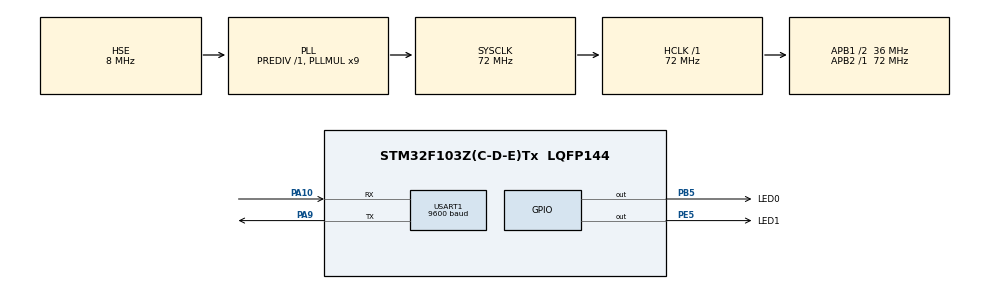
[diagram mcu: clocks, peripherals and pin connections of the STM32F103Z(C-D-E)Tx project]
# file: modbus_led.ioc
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Mcu.Family=STM32F1
Mcu.Name=STM32F103Z(C-D-E)Tx
Mcu.Package=LQFP144
NVIC.PriorityGroup=NVIC_PRIORITYGROUP_4
NVIC.TIM2_IRQn=true\:0\:0\:false\:false\:true\:true\:true\:true
NVIC.USART1_IRQn=true\:0\:0\:false\:false\:true\:true\:true\:true
OSC_IN.Mode=HSE-External-Oscillator
OSC_IN.Signal=RCC_OSC_IN
OSC_OUT.Mode=HSE-External-Oscillator
OSC_OUT.Signal=RCC_OSC_OUT
PA10.Mode=Asynchronous
PA10.Signal=USART1_RX
PA13.Mode=Serial_Wire
PA13.Signal=SYS_JTMS-SWDIO
PA14.Mode=Serial_Wire
PA14.Signal=SYS_JTCK-SWCLK
PA9.Mode=Asynchronous
PA9.Signal=USART1_TX
PB5.GPIO_Label=LED0
PB5.PinState=GPIO_PIN_SET
PB5.Signal=GPIO_Output
PC14-OSC32_IN.Mode=LSE-External-Oscillator
PC14-OSC32_IN.Signal=RCC_OSC32_IN
PC15-OSC32_OUT.Mode=LSE-External-Oscillator
PC15-OSC32_OUT.Signal=RCC_OSC32_OUT
PE5.GPIO_Label=LED1
PE5.PinState=GPIO_PIN_SET
PE5.Signal=GPIO_Output
ProjectManager.HeapSize=0x200
ProjectManager.StackSize=0x400
ProjectManager.TargetToolchain=MDK-ARM V5.32
RCC.AHBFreq_Value=72000000
RCC.APB1CLKDivider=RCC_HCLK_DIV2
RCC.APB1Freq_Value=36000000
RCC.APB1TimFreq_Value=72000000
RCC.APB2Freq_Value=72000000
RCC.APB2TimFreq_Value=72000000
RCC.HCLKFreq_Value=72000000
RCC.PLLMUL=RCC_PLL_MUL9
RCC.PLLSourceVirtual=RCC_PLLSOURCE_HSE
RCC.SYSCLKFreq_VALUE=72000000
RCC.SYSCLKSource=RCC_SYSCLKSOURCE_PLLCLK
RCC.USBFreq_Value=72000000
TIM2.Period=39
TIM2.Prescaler=7199
USART1.BaudRate=9600
USART1.VirtualMode=VM_ASYNC
VP_TIM2_VS_ClockSourceINT.Mode=Internal
VP_TIM2_VS_OPM.Mode=OPM_bit
board=custom

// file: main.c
/* USER CODE BEGIN Header */
/**
  ******************************************************************************
  * @file           : main.c
  * @brief          : Main program body
  ******************************************************************************
  * @attention
  *
  * Copyright (c) 2025 STMicroelectronics.
  * All rights reserved.
  *
  * This software is licensed under terms that can be found in the LICENSE file
  * in the root directory of this software component.
  * If no LICENSE file comes with this software, it is provided AS-IS.
  *
  ******************************************************************************
  */
/* USER CODE END Header */
#include "main.h"
#include "tim.h"
#include "usart.h"
#include "gpio.h"

/* USER CODE BEGIN PD */
#define MODBUS_SLAVE_ADDR 0x01

/* USER CODE END PD */

/* USER CODE BEGIN PV */
uint8_t rx_byte;
uint8_t rx_buffer[256];
uint16_t rx_index = 0;

uint16_t value = 100;

/* USER CODE END PV */

void SystemClock_Config(void);
/* USER CODE BEGIN PFP */
void parse_modbus_frame(uint8_t *frame, uint16_t length);
uint16_t ModRTU_CRC(uint8_t *buf, int len);

/* USER CODE END PFP */

int main(void)
{

  /* MCU Configuration--------------------------------------------------------*/

  /* Reset of all peripherals, Initializes the Flash interface and the Systick. */
  HAL_Init();

  /* Configure the system clock */
  SystemClock_Config();

  /* Initialize all configured peripherals */
  MX_GPIO_Init();
  MX_TIM2_Init();
  MX_USART1_UART_Init();
  /* USER CODE BEGIN 2 */
  HAL_UART_Receive_IT(&huart1, &rx_byte, 1);  // Start receiving
  __HAL_TIM_SET_COUNTER(&htim2, 0);
  HAL_TIM_Base_Stop_IT(&htim2);

  /* USER CODE END 2 */

  /* Infinite loop */
  while (1)
  {

    /* USER CODE BEGIN 3 */
    value += 100;
    HAL_Delay(200);
  }
  /* USER CODE END 3 */
}

void SystemClock_Config(void)
{
  RCC_OscInitTypeDef RCC_OscInitStruct = {0};
  RCC_ClkInitTypeDef RCC_ClkInitStruct = {0};

  /** Initializes the RCC Oscillators according to the specified parameters
  * in the RCC_OscInitTypeDef structure.
  */
  RCC_OscInitStruct.OscillatorType = RCC_OSCILLATORTYPE_HSE;
  RCC_OscInitStruct.HSEState = RCC_HSE_ON;
  RCC_OscInitStruct.HSEPredivValue = RCC_HSE_PREDIV_DIV1;
  RCC_OscInitStruct.HSIState = RCC_HSI_ON;
  RCC_OscInitStruct.PLL.PLLState = RCC_PLL_ON;
  RCC_OscInitStruct.PLL.PLLSource = RCC_PLLSOURCE_HSE;
  RCC_OscInitStruct.PLL.PLLMUL = RCC_PLL_MUL9;
  if (HAL_RCC_OscConfig(&RCC_OscInitStruct) != HAL_OK)
  {
    Error_Handler();
  }

  /** Initializes the CPU, AHB and APB buses clocks
  */
  RCC_ClkInitStruct.ClockType = RCC_CLOCKTYPE_HCLK|RCC_CLOCKTYPE_SYSCLK
                              |RCC_CLOCKTYPE_PCLK1|RCC_CLOCKTYPE_PCLK2;
  RCC_ClkInitStruct.SYSCLKSource = RCC_SYSCLKSOURCE_PLLCLK;
  RCC_ClkInitStruct.AHBCLKDivider = RCC_SYSCLK_DIV1;
  RCC_ClkInitStruct.APB1CLKDivider = RCC_HCLK_DIV2;
  RCC_ClkInitStruct.APB2CLKDivider = RCC_HCLK_DIV1;

  if (HAL_RCC_ClockConfig(&RCC_ClkInitStruct, FLASH_LATENCY_2) != HAL_OK)
  {
    Error_Handler();
  }
}

/* USER CODE BEGIN 4 */
void HAL_UART_RxCpltCallback(UART_HandleTypeDef *huart)
{
    if (huart->Instance == USART1)
    {
        rx_buffer[rx_index++] = rx_byte;

        // Restart TIM2 to count silence interval
        __HAL_TIM_SET_COUNTER(&htim2, 0);
        HAL_TIM_Base_Start_IT(&htim2);

        // Restart receiving next byte
        HAL_UART_Receive_IT(&huart1, &rx_byte, 1);
    }
}

void HAL_TIM_PeriodElapsedCallback(TIM_HandleTypeDef *htim)
{
    if (htim->Instance == TIM2)
    {
        // Stop timer until next UART reception
        HAL_TIM_Base_Stop_IT(&htim2);

        // Frame complete, process Modbus frame
        parse_modbus_frame(rx_buffer, rx_index);

        // Reset index
        rx_index = 0;
    }
}

void parse_modbus_frame(uint8_t *frame, uint16_t length)
{
    // Minimum Modbus RTU length
    if (length < 4) return;

    uint8_t slave_addr = frame[0];
    uint8_t function = frame[1];
    uint16_t crc_received = (frame[length - 2] | (frame[length - 1] << 8));
    uint16_t crc_calculated = ModRTU_CRC(frame, length - 2);

    if (crc_received != crc_calculated) return;

    if (slave_addr == MODBUS_SLAVE_ADDR)
    {
        if (function == 0x03)
        {
            uint8_t response[7] = {
                MODBUS_SLAVE_ADDR, 0x03, 0x02,
                (value >> 8) & 0xFF,  // High byte
                value & 0xFF          // Low byte
            };
            uint16_t crc = ModRTU_CRC(response, 5);
            response[5] = crc & 0xFF;
            response[6] = (crc >> 8) & 0xFF;
            HAL_UART_Transmit(&huart1, response, 7, HAL_MAX_DELAY);
        }
        else if (function == 0x05)
        {
            // Ensure enough bytes for address and content
            if (length >= 8)
            {
                uint16_t start_addr = (frame[2] << 8) | frame[3];
                uint16_t write_cont = (frame[4] << 8) | frame[5];

                if (((start_addr >> 8) & 0xFF) == 0x00 && (start_addr & 0xFF) == 0x00)
                {
                    if (((write_cont >> 8) & 0xFF) == 0xFF && (write_cont & 0xFF) == 0x00)
                    {
                        HAL_GPIO_WritePin(LED0_GPIO_Port, LED0_Pin, GPIO_PIN_RESET);
                        uint8_t response[8] = {MODBUS_SLAVE_ADDR, 0x05, 0x00, 0x00, 0xFF, 0x00};
                        uint16_t crc = ModRTU_CRC(response, 6);
                        response[6] = crc & 0xFF;
                        response[7] = (crc >> 8) & 0xFF;
                        HAL_UART_Transmit(&huart1, response, 8, HAL_MAX_DELAY);
                    }
                    else if (((write_cont >> 8) & 0xFF) == 0x00 && (write_cont & 0xFF) == 0x00)
                    {
                        HAL_GPIO_WritePin(LED0_GPIO_Port, LED0_Pin, GPIO_PIN_SET);
                        uint8_t response[8] = {MODBUS_SLAVE_ADDR, 0x05, 0x00, 0x00, 0x00, 0x00};
                        uint16_t crc = ModRTU_CRC(response, 6);
                        response[6] = crc & 0xFF;
                        response[7] = (crc >> 8) & 0xFF;
                        HAL_UART_Transmit(&huart1, response, 8, HAL_MAX_DELAY);
                    }
                }
                else if (((start_addr >> 8) & 0xFF) == 0x00 && (start_addr & 0xFF) == 0x01)
                {
                    if (((write_cont >> 8) & 0xFF) == 0xFF && (write_cont & 0xFF) == 0x00)
                    {
                        HAL_GPIO_WritePin(LED1_GPIO_Port, LED1_Pin, GPIO_PIN_RESET);
                        uint8_t response[8] = {MODBUS_SLAVE_ADDR, 0x05, 0x00, 0x01, 0xFF, 0x00};
                        uint16_t crc = ModRTU_CRC(response, 6);
                        response[6] = crc & 0xFF;
                        response[7] = (crc >> 8) & 0xFF;
                        HAL_UART_Transmit(&huart1, response, 8, HAL_MAX_DELAY);
                    }
                    else if (((write_cont >> 8) & 0xFF) == 0x00 && (write_cont & 0xFF) == 0x00)
                    {
                        HAL_GPIO_WritePin(LED1_GPIO_Port, LED1_Pin, GPIO_PIN_SET);
                        uint8_t response[8] = {MODBUS_SLAVE_ADDR, 0x05, 0x00, 0x01, 0x00, 0x00};
                        uint16_t crc = ModRTU_CRC(response, 6);
                        response[6] = crc & 0xFF;
                        response[7] = (crc >> 8) & 0xFF;
                        HAL_UART_Transmit(&huart1, response, 8, HAL_MAX_DELAY);
                    }
                }
            }
        }
        else
        {
            // Unsupported function: send exception response (Illegal Function = 0x01)
            uint8_t exception[5];
            exception[0] = MODBUS_SLAVE_ADDR;
            exception[1] = function | 0x80;  // Set MSB for exception
            exception[2] = 0x01;             // Exception Code: Illegal Function
            uint16_t crc = ModRTU_CRC(exception, 3);
            exception[3] = crc & 0xFF;
            exception[4] = (crc >> 8) & 0xFF;
            HAL_UART_Transmit(&huart1, exception, 5, HAL_MAX_DELAY);
        }
    }
}

uint16_t ModRTU_CRC(uint8_t *buf, int len)
{
    uint16_t crc = 0xFFFF;
    for (int pos = 0; pos < len; pos++)
    {
        crc ^= (uint16_t)buf[pos];
        for (int i = 8; i != 0; i--)
        {
            if ((crc & 0x0001) != 0)
            {
                crc >>= 1;
                crc ^= 0xA001;
            }
            else
            {
                crc >>= 1;
            }
        }
    }
    return crc;
}

/* USER CODE END 4 */

void Error_Handler(void)
{
  __disable_irq();
  while (1)
  {
  }
}
